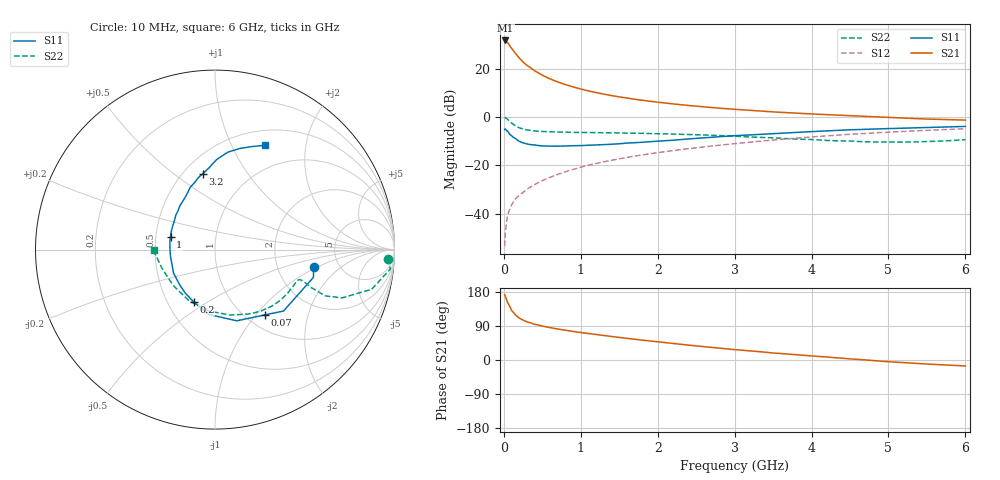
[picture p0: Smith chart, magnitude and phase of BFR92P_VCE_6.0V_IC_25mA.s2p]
! Infineon Technologies  Discrete & RF Semiconductors
! BFR92P
! VCE =  6.0 V,  IC =  25 mA
! Common Emitter S-Parameters:  Apr 2014
# GHz  S  MA  R  50
!  f  S11  S21  S12  S22
! GHz  MAG  ANG  MAG  ANG  MAG  ANG  MAG  ANG
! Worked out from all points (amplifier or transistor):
!   77 points, 10 MHz to 6 GHz, reference 50 ohm
!   highest |S21| = 31.9 dB at 20 MHz (marker M1)
!   |S21| within 3 dB of that: start of sweep to 94.26 MHz
!   unconditionally stable (mu >= 1): 452.4 MHz to 2.135 GHz
!   at 130 MHz: K = 0.60, MSG = 31.1 dB, |S12| = -34.8 dB
!   at 2.2 GHz: K = 1.00, MSG = 9.7 dB, |S12| = -13.9 dB
!   at 6 GHz: K = 0.86, MSG = 1.8 dB, |S12| = -4.8 dB
!   S11 on the Smith chart (normalised r, x): 10 MHz: 3.24, -0.92; 70 MHz: 1.21, -1.11; 200 MHz: 0.67, -0.43; 1 GHz: 0.60, +0.09; 3.2 GHz: 0.62, +0.64; 6 GHz: 0.68, +1.35
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0.01  0.5579 -10.1  39.05 172.1  0.0021 83.6  0.965 -3.0
0.02  0.5698 -15.7  39.24 167.4  0.0039 84.8  0.9832 -6.3
0.05  0.5127 -41.9  35.33 151.0  0.0093 73.8  0.8994 -14.3
0.07  0.4576 -52.7  31.57 144.2  0.0116 70.9  0.8414 -16.6
0.1  0.4147 -73.1  27.02 130.8  0.015 68.2  0.7574 -20.8
0.15  0.3627 -95.4  21.26 119.0  0.0201 66.6  0.6638 -22.8
0.2  0.3142 -112.3  16.95 110.6  0.024 67.5  0.603 -21.9
0.25  0.2936 -124.4  14.05 105.4  0.0276 68.6  0.5704 -21.5
0.3  0.2782 -134.8  11.97 100.7  0.0318 69.5  0.5447 -20.4
0.4  0.2656 -150.5  9.212 94.3  0.0398 70.9  0.5189 -19.7
0.5  0.2532 -161.4  7.449 89.5  0.0483 73.0  0.506 -19.4
0.6  0.251 -170.1  6.259 85.5  0.0565 73.7  0.4982 -19.6
0.7  0.2505 -177.6  5.4 81.8  0.0648 73.8  0.4928 -20.2
1  0.2574 164.3  3.851 72.6  0.0915 73.5  0.4823 -23.8
1.1  0.2618 159.4  3.519 69.8  0.1005 73.1  0.4812 -25.2
1.5  0.2809 142.8  2.644 59.6  0.1367 71.0  0.4714 -31.5
2.1  0.3252 123.2  1.968 45.9  0.1931 66.1  0.4506 -42.5
3.1  0.4207 100.9  1.425 25.8  0.2929 55.9  0.3961 -65.4
3.2  0.4288 99.2  1.389 24.1  0.3035 54.6  0.389 -68.3
4.1  0.5112 87.5  1.15 9.3  0.3992 44.1  0.336 -99.1
5.1  0.5863 74.8  0.976 -5.7  0.4981 30.0  0.3048 -143.5
6  0.6443 64.4  0.872 -15.8  0.5773 17.1  0.3425 -179.3
